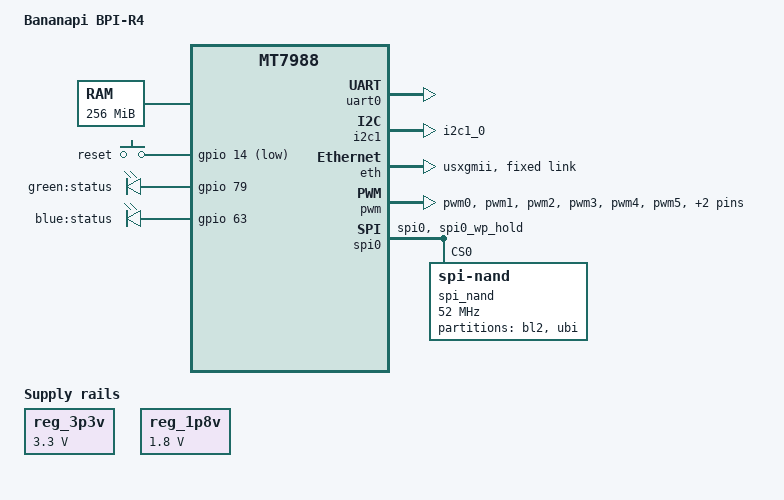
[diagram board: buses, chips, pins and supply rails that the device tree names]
// SPDX-License-Identifier: GPL-2.0
/*
 * Copyright (c) 2022 MediaTek Inc.
 * Author: Sam Shih <sam.shih@mediatek.com>
 */

/dts-v1/;
#include "mt7988.dtsi"
#include <dt-bindings/gpio/gpio.h>
#include <dt-bindings/input/linux-event-codes.h>

/ {
	model = "Bananapi BPI-R4";
	compatible = "bananapi,bpi-r4", "mediatek,mt7988";

	chosen {
		stdout-path = &uart0;
	};

	memory@40000000 {
		device_type = "memory";
		reg = <0 0x40000000 0 0x10000000>;
	};

	reg_3p3v: regulator-3p3v {
		compatible = "regulator-fixed";
		regulator-name = "fixed-3.3V";
		regulator-min-microvolt = <3300000>;
		regulator-max-microvolt = <3300000>;
		regulator-boot-on;
		regulator-always-on;
	};

	reg_1p8v: regulator-1p8v {
		compatible = "regulator-fixed";
		regulator-name = "fixed-1.8V";
		regulator-min-microvolt = <1800000>;
		regulator-max-microvolt = <1800000>;
		regulator-boot-on;
		regulator-always-on;
	};

	keys {
		compatible = "gpio-keys";

		wps {
			label = "reset";
			linux,code = <KEY_RESTART>;
			gpios = <&gpio 14 GPIO_ACTIVE_LOW>;
		};
	};

	leds {
		compatible = "gpio-leds";

		led_status_green: led-green {
			label = "green:status";
			gpios = <&gpio 79 GPIO_ACTIVE_HIGH>;
		};

		led_status_blue: led-blue {
			label = "blue:status";
			gpios = <&gpio 63 GPIO_ACTIVE_HIGH>;
		};
	};
};

&uart0 {
	status = "okay";
};

&i2c1 {
	pinctrl-names = "default";
	pinctrl-0 = <&i2c1_pins>;
	status = "okay";
};

&eth {
	status = "okay";
	mediatek,gmac-id = <0>;
	phy-mode = "usxgmii";
	mediatek,switch = "mt7988";

	fixed-link {
		speed = <1000>;
		full-duplex;
		pause;
	};
};

&pinctrl {
	i2c1_pins: i2c1-pins {
		mux {
			function = "i2c";
			groups = "i2c1_0";
		};
	};

	pwm_pins: pwm-pins {
		mux {
			function = "pwm";
			groups = "pwm0", "pwm1", "pwm2", "pwm3", "pwm4",
				 "pwm5", "pwm6", "pwm7";
		};
	};

	spi0_pins: spi0-pins {
		mux {
			function = "spi";
			groups = "spi0", "spi0_wp_hold";
		};
	};

	mmc0_pins_default: mmc0default {
		mux {
			function = "flash";
			groups =  "emmc_51";
		};

		conf-cmd-dat {
			pins = "EMMC_DATA_0", "EMMC_DATA_1", "EMMC_DATA_2",
			       "EMMC_DATA_3", "EMMC_DATA_4", "EMMC_DATA_5",
			       "EMMC_DATA_6", "EMMC_DATA_7", "EMMC_CMD";
			input-enable;
		};

		conf-clk {
			pins = "EMMC_CK";
		};

		conf-dsl {
			pins = "EMMC_DSL";
		};

		conf-rst {
			pins = "EMMC_RSTB";
		};
	};

	mmc1_pins_default: mmc1default {
		mux {
			function = "flash";
			groups =  "emmc_45";
		};

		conf-cmd-dat {
			pins = "SPI2_CSB", "SPI2_MISO", "SPI2_MOSI",
			       "SPI2_CLK", "SPI2_HOLD";
			input-enable;
		};

		conf-clk {
			pins = "SPI2_WP";
		};
	};
};

&pwm {
	pinctrl-names = "default";
	pinctrl-0 = <&pwm_pins>;
	status = "okay";
};

&spi0 {
	pinctrl-names = "default";
	pinctrl-0 = <&spi0_pins>;
	#address-cells = <1>;
	#size-cells = <0>;
	status = "okay";
	must_tx;
	enhance_timing;
	dma_ext;
	ipm_design;
	support_quad;
	tick_dly = <2>;
	sample_sel = <0>;

	spi_nand@0 {
		compatible = "spi-nand";
		reg = <0>;
		spi-max-frequency = <52000000>;
		partitions {
			compatible = "fixed-partitions";
			#address-cells = <1>;
			#size-cells = <1>;

			partition@0 {
				label = "bl2";
				reg = <0x0 0x200000>;
			};

			partition@200000 {
				label = "ubi";
				reg = <0x200000 0x7e00000>;
				compatible = "linux,ubi";
			};
		};
	};
};
